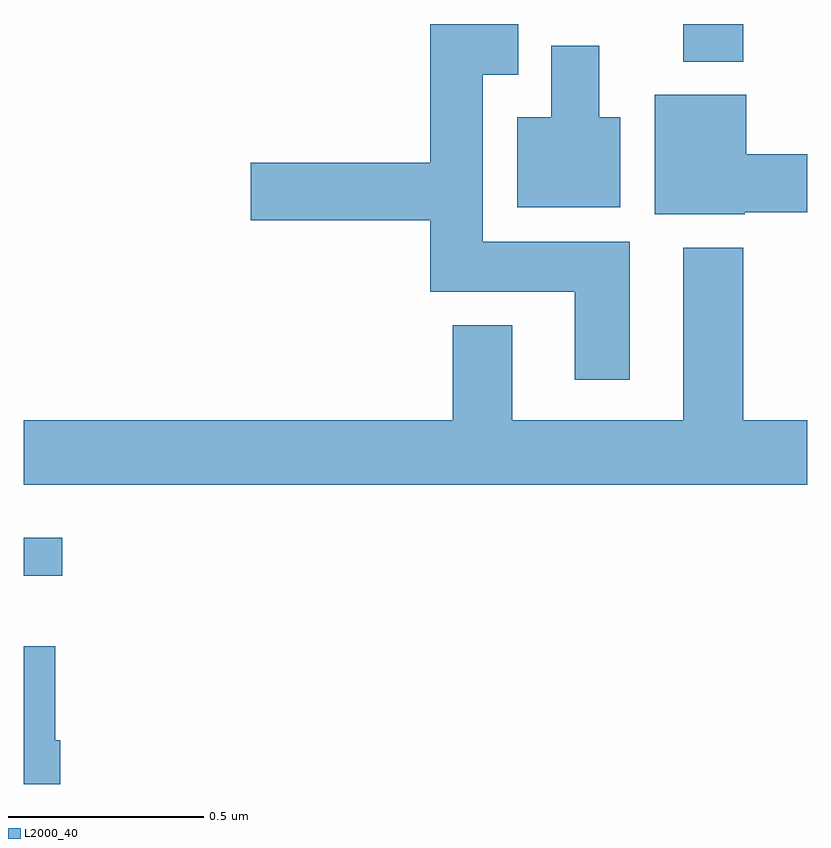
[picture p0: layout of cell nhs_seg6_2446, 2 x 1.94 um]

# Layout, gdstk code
import gdstk
lib = gdstk.Library(unit=1e-6, precision=1e-09)
def R(c, l, rs):  # rectangles x0, y0, x1, y1
    for r in rs: c.add(gdstk.rectangle(r[:2], r[2:], *l))
def P(c, l, *ps):  # polygons
    for p in ps: c.add(gdstk.Polygon(p, *l))
L2000_40 = (2000, 40)

nhs_seg6_2446 = lib.new_cell('nhs_seg6_2446')
R(nhs_seg6_2446, L2000_40, [(143,959.091,143.098,959.188), (144.683,960.404,144.836,960.5)])
P(nhs_seg6_2446, L2000_40, [(144.547,959.944),(144.172,959.944),(144.172,960.371),(144.262,960.371),(144.262,960.5),(144.038,960.5),(144.038,960.146),(143.58,960.146),(143.58,959.999),(144.038,959.999),(144.038,959.816),(144.407,959.816),(144.407,959.592),(144.547,959.592)],
  [(144.523,960.262),(144.469,960.262),(144.469,960.445),(144.347,960.445),(144.347,960.262),(144.26,960.262),(144.26,960.032),(144.523,960.032)],
  [(144.84,960.02),(145,960.02),(145,960.167),(144.844,960.167),(144.844,960.319),(144.611,960.319),(144.611,960.014),(144.84,960.014)],
  [(145,959.488),(144.836,959.488),(144.836,959.929),(144.683,959.929),(144.683,959.488),(144.247,959.488),(144.247,959.731),(144.095,959.731),(144.095,959.488),(143,959.488),(143,959.324),(145,959.324)],
  [(143.093,958.672),(143.08,958.672),(143.08,958.912),(143,958.912),(143,958.56),(143.093,958.56)])

lib.write_gds('nhs_seg6_2446.gds')
